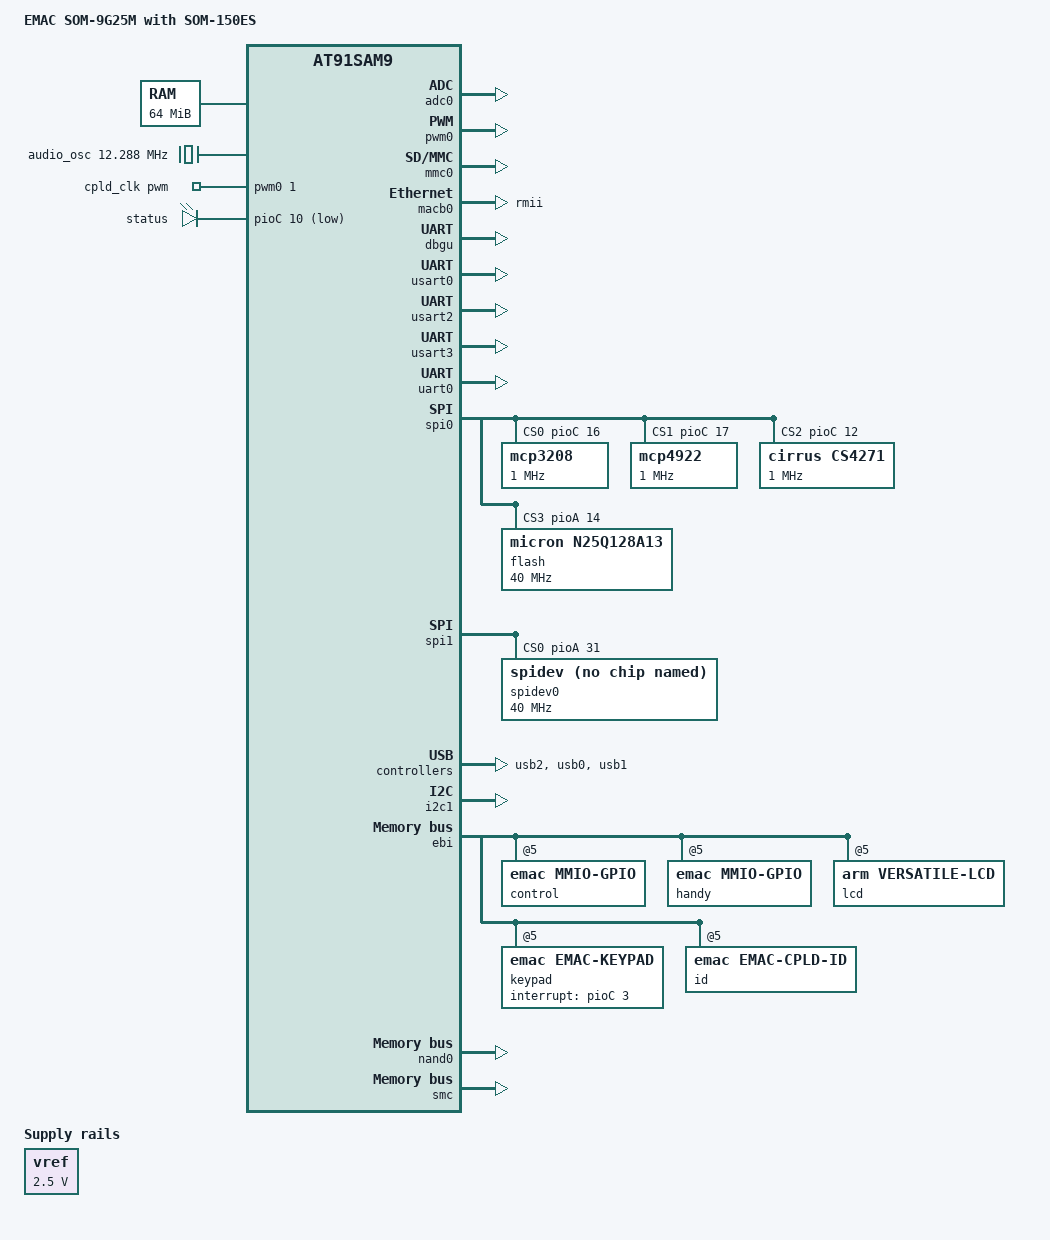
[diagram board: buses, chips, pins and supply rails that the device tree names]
/*
 * som-9g25-150es.dts - Device Tree file for the SOM-9G25 with the SOM-150.
 *
 *  Copyright (C) 2018 EMAC Inc.
 *
 * Licensed under GPLv2 or later.
 */
/dts-v1/;
#include "at91sam9g25.dtsi"

/ {
	model = "EMAC SOM-9G25M with SOM-150ES";
	compatible = "emac,som9g25", "atmel,at91sam9x5", "atmel,at91sam9";

	aliases {
		serial0 = &usart3;
		serial1 = &usart0;
		serial3 = &uart0;
		serial4 = &usart2;
		serial5 = &dbgu;
		spi0 = &spi0;
		spi1 = &spi1;
	};

	memory {
		reg = <0x20000000 0x4000000>;
	};

	clocks {
		#address-cells = <1>;
		#size-cells = <1>;
		ranges;

		slow_xtal {
			clock-frequency = <32768>;
		};

		main_xtal {
			clock-frequency = <12000000>;
		};

		audio_osc: audio_osc {
			compatible = "fixed-clock";
			#clock-cells = <0>;
			clock-frequency = <12288000>;
		};
	};

	regulators {
		compatible = "simple-bus";
		#address-cells = <1>;
		#size-cells = <0>;

		vref: regulator@0 {
			compatible = "regulator-fixed";
			reg = <0>;
			regulator-name = "vref";
			regulator-min-microvolt = <2500000>;
			regulator-max-microvolt = <2500000>;
			regulator-always-on;
		};
	};

	sound {
		compatible = "simple-audio-card";
		simple-audio-card,name = "cs4271 @ SOM9G25";
		simple-audio-card,format = "i2s";
		simple-audio-card,bitclock-master = <&codec_master>;
		simple-audio-card,frame-master = <&codec_master>;
		simple-audio-card,widgets =
			"Line", "Line In",
			"Line", "Line Out";
		simple-audio-card,routing =
			"Line In", "Capture",
			"Line Out", "Playback";

		cpu_master: simple-audio-card,cpu {
			sound-dai = <&ssc0>;
		};

		codec_master: simple-audio-card,codec {
			sound-dai = <&cs4271>;
		};
	};

	ahb {
		apb {
			pinctrl@fffff400 {
				adc0 {
					pinctrl_adc0: adc0-board {
						atmel,pins =
							<AT91_PIOB 11 AT91_PERIPH_GPIO AT91_PINCTRL_NONE
							 AT91_PIOB 12 AT91_PERIPH_GPIO AT91_PINCTRL_NONE
							 AT91_PIOB 13 AT91_PERIPH_GPIO AT91_PINCTRL_NONE
							 AT91_PIOB 14 AT91_PERIPH_GPIO AT91_PINCTRL_NONE>;
					};
				};

				pwm0 {
					pinctrl_pwm0: pwm0-board {
						atmel,pins =
							<AT91_PIOC 18 AT91_PERIPH_C AT91_PINCTRL_NONE
							 AT91_PIOC 19 AT91_PERIPH_C AT91_PINCTRL_NONE>;
					};
				};

				mmc0 {
					pinctrl_board_mmc0: mmc0-board {
						atmel,pins =
							<AT91_PIOC 4 AT91_PERIPH_GPIO (AT91_PINCTRL_PULL_UP|AT91_PINCTRL_DEGLITCH)>;
					};
				};

				smc05 {
					pinctrl_smc: smc05-board {
						atmel,pins =
							<AT91_PIOD 19 AT91_PERIPH_B AT91_PINCTRL_PULL_UP
							 AT91_PIOD 20 AT91_PERIPH_B AT91_PINCTRL_PULL_UP
							 AT91_PIOD 21 AT91_PERIPH_B AT91_PINCTRL_PULL_UP>;
					};
				};

				spi0 {
					pinctrl_spi0_cs: spi0-board {
						atmel,pins =
							<AT91_PIOA 14 AT91_PERIPH_GPIO AT91_PINCTRL_PULL_UP
							 AT91_PIOC 16 AT91_PERIPH_GPIO AT91_PINCTRL_PULL_UP
							 AT91_PIOC 17 AT91_PERIPH_GPIO AT91_PINCTRL_PULL_UP
							 AT91_PIOC 12 AT91_PERIPH_GPIO AT91_PINCTRL_PULL_UP>;
					};
				};

				spi1 {
					pinctrl_spi1_cs: spi1-board {
						atmel,pins =
							<AT91_PIOA 31 AT91_PERIPH_GPIO AT91_PINCTRL_PULL_UP>;
					};
				};

				keypad_gpio {
					pinctrl_keypad: keypad-board {
						atmel,pins =
							<AT91_PIOC 3 AT91_PERIPH_GPIO AT91_PINCTRL_DEBOUNCE>;

					};
				};
			};

			adc0: adc@f804c000 {
				pinctrl-names = "default";
				pinctrl-0 = <&pinctrl_adc0>;
				atmel,adc-channels-used = <0xf>;
				atmel,adc-vref = <2500>;
				status = "okay";
			};

			pwm0: pwm@f8034000 {
				pinctrl-names = "default";
				pinctrl-0 = <&pinctrl_pwm0>;
				status = "okay";
			};

			mmc0: mmc@f0008000 {
				pinctrl-names = "default";
				pinctrl-0 = <
					&pinctrl_board_mmc0
					&pinctrl_mmc0_slot0_clk_cmd_dat0
					&pinctrl_mmc0_slot0_dat1_3>;
				status = "okay";
				slot@0 {
					reg = <0>;
					bus-width = <4>;
					cd-gpios = <&pioC 4 GPIO_ACTIVE_LOW>;
				};
			};

			macb0: ethernet@f802c000 {
				phy-mode = "rmii";
				status = "okay";
			};

			rtc: rtc@fffffeb0 {
				status = "okay";
			};

			dbgu: serial@fffff200 {
				status = "okay";
			};

			usart0: serial@f801c000 {
				pinctrl-names = "default";
				pinctrl-0 = <
					&pinctrl_usart0
					&pinctrl_usart0_rts>;
				rs485-rts-delay = <0 1>;
				status = "okay";
			};

			usart2: serial@f8024000 {
				status = "okay";
			};

			usart3: serial@f8028000 {
				pinctrl-names = "default";
				pinctrl-0 = <
					&pinctrl_usart3
					&pinctrl_usart3_rts
					&pinctrl_usart3_cts>;
				status = "okay";
			};

			uart0: serial@f8040000 {
				status = "okay";
			};

			spi0: spi@f0000000 {
				cs-gpios = <&pioC 16 0
					    &pioC 17 0
					    &pioC 12 0
					    &pioA 14 0>;
				pinctrl-0 = <&pinctrl_spi0 &pinctrl_spi0_cs>;
				status = "okay";

				mcp3208: mcp320x@0 {
					compatible = "mcp3208";
					spi-max-frequency = <1000000>;
					spi-cpol;
					spi-cpha;
					reg = <0>;
					status = "okay";
				};

				mcp4922: mcp49x2@1 {
					compatible = "mcp4922";
					spi-max-frequency = <1000000>;
					spi-cpol;
					spi-cpha;
					reg = <1>;
					vref = <&vref>;
					status = "okay";
				};

				cs4271: cs4271@2 {
					#sound-dai-cells = <0>;
					compatible = "cirrus,cs4271";
					spi-cpol;
					spi-cpha;
					reg = <2>;
					clocks = <&audio_osc>;
					spi-max-frequency = <1000000>;
					status = "okay";
				};

				flash: n25q128a13@3 {
					compatible = "micron,n25q128a13";
					spi-max-frequency = <40000000>;
					reg = <3>;
					status = "okay";
				};
			};

			spi1: spi@f0004000 {
				cs-gpios = <&pioA 31 0>;
				pinctrl-0 = <&pinctrl_spi1 &pinctrl_spi1_cs>;
				status = "okay";

				spidev0: spidev@0 {
					compatible = "emac,spidev";
					reg = <0>;
					spi-max-frequency = <40000000>;
				};
			};

			ssc0: ssc@f0010000 {
				#sound-dai-cells = <0>;
				status = "okay";
			};

			usb2: gadget@f803c000 {
				status = "okay";
			};

			i2c1: i2c@f8014000 {
				status = "okay";
			};
		};

		ebi: ebi@60000000 {
			compatible = "atmel,at91sam9x5-ebi";
			#address-cells = <2>; 
			#size-cells = <1>;
			atmel,smc = <&smc>;
			atmel,matrix = <&matrix>;
			reg = <0x10000000 0x60000000>;
			ranges = <0x0 0x0 0x10000000 0x10000000
				  0x1 0x0 0x20000000 0x10000000
				  0x2 0x0 0x30000000 0x10000000
				  0x3 0x0 0x40000000 0x10000000
				  0x4 0x0 0x50000000 0x10000000
				  0x5 0x0 0x60000000 0x10000000>;
			clocks = <&mck>;

			pinctrl-names = "default";
			pinctrl-0 = <&pinctrl_smc>;

			portc@5,6 {
				compatible = "emac,mmio-gpio";
				reg-names = "dat";
				reg = <5 6 1>;
				gpio-controller;
				no-input;
				#address-cells = <1>;
				#size-cells = <1>;
				#gpio-cells = <1>;
				bank-width = <1>;
			};

			portb@5,4 {
				compatible = "emac,mmio-gpio";
				reg-names = "dat", "dirout";
				reg = <5 4 1>, <5 5 1>;
				gpio-controller;
				#address-cells = <1>;
				#size-cells = <1>;
				#gpio-cells = <2>;
				bank-width = <1>;
			};

			porta@5,2 {
				compatible = "emac,mmio-gpio";
				reg-names = "dat", "dirout";
				reg = <5 2 1>, <5 3 1>;
				gpio-controller;
				#gpio-cells = <2>;
				#address-cells = <1>;
				#size-cells = <1>;
				bank-width = <1>;

				atmel,smc-read-mode = "nrd";
				atmel,smc-write-mode = "nwe";
				atmel,smc-bus-width = <8>;
				atmel,smc-ncs-rd-setup-ns = <8>;
				atmel,smc-ncs-wr-setup-ns = <8>;
				atmel,smc-nwe-setup-ns = <16>;
				atmel,smc-nrd-setup-ns = <16>;
				atmel,smc-ncs-rd-pulse-ns = <40>;
				atmel,smc-ncs-wr-pulse-ns = <40>;
				atmel,smc-nrd-pulse-ns = <24>;
				atmel,smc-nwe-pulse-ns = <24>;
				atmel,smc-nrd-cycle-ns = <64>;
				atmel,smc-nwe-cycle-ns = <64>;
				atmel,smc-tdf-ns = <16>;
			};

			control@5,8 {
				compatible = "emac,mmio-gpio";
				reg-names = "dat";
				reg = <5 8 1>;
				gpio-controller;
				no-input;
				#address-cells = <1>;
				#size-cells = <1>;
				#gpio-cells = <1>;
				bank-width = <1>;
			};

			handy@5,10 {
				compatible = "emac,mmio-gpio";
				reg-names = "dat", "dirout";
				reg = <5 10 1>, <5 11 1>;
				gpio-controller;
				#address-cells = <1>;
				#size-cells = <1>;
				#gpio-cells = <2>;
				bank-width = <1>;
			};


			lcd@5,0 {
				//compatible = "emac,lcd";
				compatible = "arm,versatile-lcd";
				reg = <5 0 2>;
				#address-cells = <1>;
				#size-cells = <1>;
				bank-width = <1>;

				atmel,smc-read-mode = "nrd";
				atmel,smc-write-mode = "nwe";
				atmel,smc-bus-width = <8>;
				atmel,smc-ncs-rd-setup-ns = <8>;
				atmel,smc-ncs-wr-setup-ns = <16>;
				atmel,smc-nwe-setup-ns = <27>;
				atmel,smc-nrd-setup-ns = <6>;
				atmel,smc-ncs-rd-pulse-ns = <6>;
				atmel,smc-ncs-wr-pulse-ns = <81>;
				atmel,smc-nrd-pulse-ns = <6>;
				atmel,smc-nwe-pulse-ns = <94>;
				atmel,smc-nrd-cycle-ns = <14>;
				atmel,smc-nwe-cycle-ns = <128>;
				atmel,smc-tdf-ns = <15>;
			};

			keypad@5,7 {
				compatible = "emac,emac-keypad";
				reg = <5 7 1>;
				#address-cells = <1>;
				#size-cells = <1>;
				bank-width = <1>;

				clocks = <&cpld_clk>;
				clock-names = "cpldclk";

				pinctrl-names = "default";
				pinctrl-0 = <&pinctrl_keypad>;

				gpio-interrupt = <&pioC 3 0x0>;
				keypad,num-rows = <4>;
				keypad,num-columns = <4>;
				linux,keymap = <0x0000001e /*A*/
						0x01000008 /*7*/
						0x02000005 /*4*/
						0x03000002 /*1*/
						0x0001000b /*0*/
						0x01010009 /*8*/
						0x02010006 /*5*/
						0x03010003 /*2*/
						0x00020030 /*B*/
						0x0102000a /*9*/
						0x02020007 /*6*/
						0x03020004 /*3*/
						0x00030021 /*F*/
						0x01030012 /*E*/
						0x02030020 /*D*/
						0x0303002e /*C*/
						>;
			};

			id@5,0xf {
				compatible = "emac,emac-cpld-id";
				reg = <5 0xf 1>;
				#address-cells = <1>;
				#size-cells = <1>;

				atmel,smc-read-mode = "nrd";
				atmel,smc-write-mode = "nwe";
				atmel,smc-bus-width = <8>;
				atmel,smc-ncs-rd-setup-ns = <8>;
				atmel,smc-ncs-wr-setup-ns = <8>;
				atmel,smc-nwe-setup-ns = <16>;
				atmel,smc-nrd-setup-ns = <16>;
				atmel,smc-ncs-rd-pulse-ns = <40>;
				atmel,smc-ncs-wr-pulse-ns = <40>;
				atmel,smc-nrd-pulse-ns = <24>;
				atmel,smc-nwe-pulse-ns = <24>;
				atmel,smc-nrd-cycle-ns = <64>;
				atmel,smc-nwe-cycle-ns = <64>;
				atmel,smc-tdf-ns = <16>;
			};
		};

		nand0: nand@40000000 {
			nand-bus-width = <8>;
			nand-ecc-mode = "hw";
			atmel,has-pmecc;	/* Enable PMECC */
			atmel,pmecc-cap = <4>;
			atmel,pmecc-sector-size = <512>;
			nand-on-flash-bbt;
			status = "okay";
		};

		usb0: ohci@00600000 {
			status = "okay";
			num-ports = <3>;
		};

		usb1: ehci@00700000 {
			status = "okay";
		};

		matrix: matrix@ffffde00 {
			compatible = "atmel,at91sam9x5-matrix", "syscon";
			reg = <0xffffde00 0x100>;
		};

		smc: smc@ffffea00 {
			compatible = "atmel,at91sam9x5-smc", "syscon";
			reg = <0xffffea00 0x200>;
		};
	};

	tcb_pwm: tcb_pwm {
		compatible = "atmel,tcb-pwm";
		#pwm-cells = <3>;
		tc-block = <1>;
		pinctrl-names = "default";
		pinctrl-0 = <&pinctrl_tcb1_tioa0>;
	};

	cpld_clk: cpld_clk {
		compatible = "pwm-clock";
		#clock-cells = <0>;
		pwms = <&pwm0 1 5000 0>;
	};

	gpio-leds {
		compatible = "gpio-leds";
		led-stat {
			label = "status";
			gpios = <&pioC 10 1>;
			default-state = "on";
		};
	};
};
